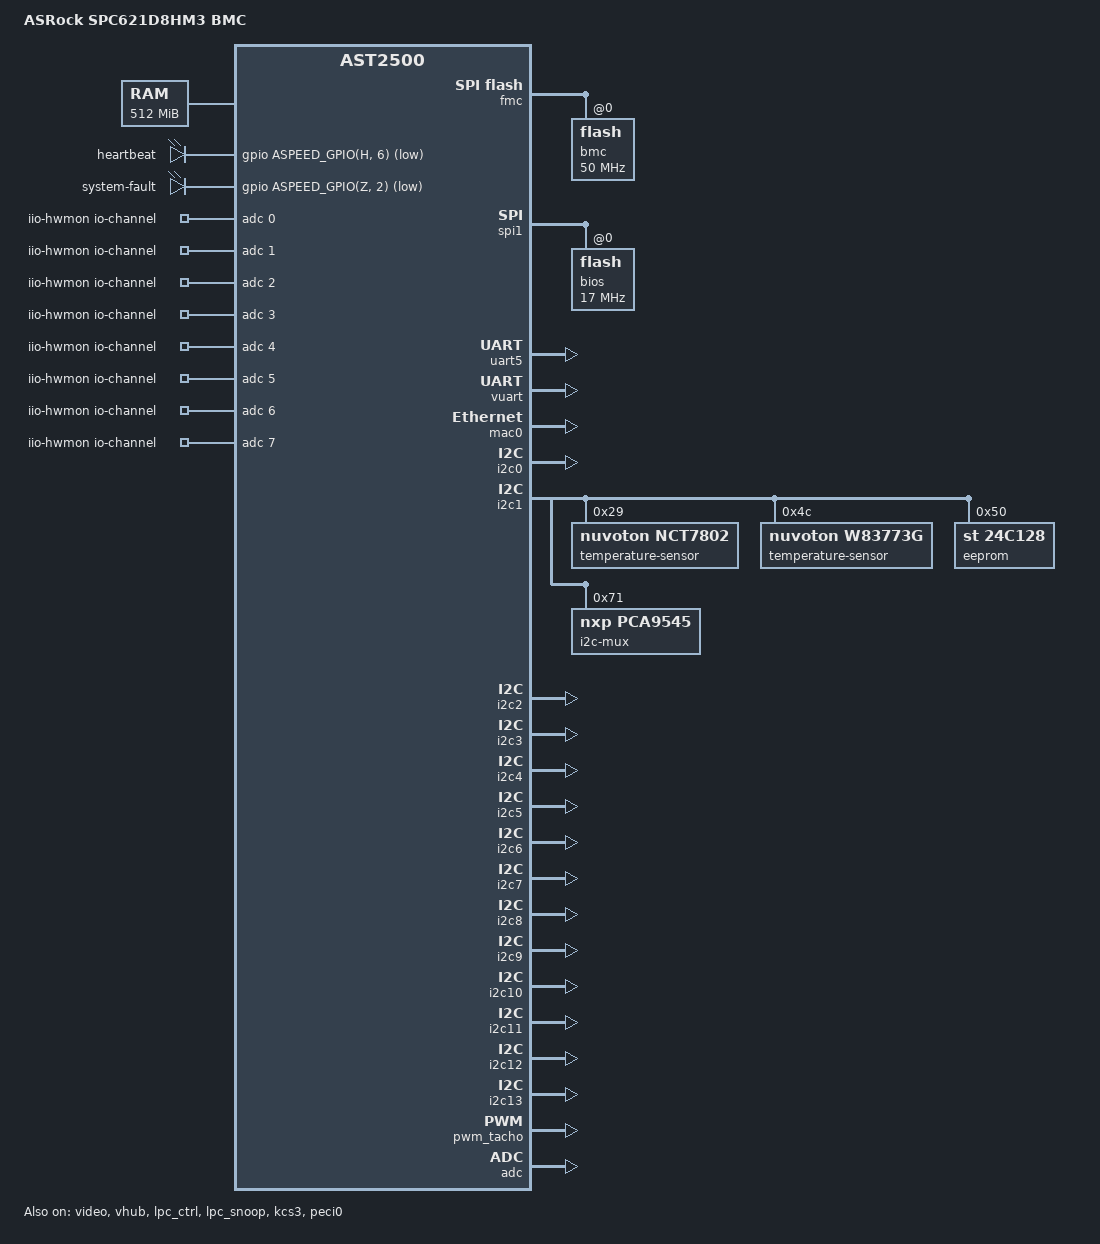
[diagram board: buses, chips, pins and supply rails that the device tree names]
// SPDX-License-Identifier: GPL-2.0+
/dts-v1/;

#include "aspeed-g5.dtsi"
#include <dt-bindings/gpio/aspeed-gpio.h>
#include <dt-bindings/i2c/i2c.h>
#include <dt-bindings/interrupt-controller/irq.h>

/{
	model = "ASRock SPC621D8HM3 BMC";
	compatible = "asrock,spc621d8hm3-bmc", "aspeed,ast2500";

	aliases {
		serial4 = &uart5;

		i2c20 = &i2c1mux0ch0;
		i2c21 = &i2c1mux0ch1;
	};

	chosen {
		stdout-path = &uart5;
		bootargs = "console=tty0 console=ttyS4,115200 earlycon";
	};

	memory@80000000 {
		reg = <0x80000000 0x20000000>;
	};

	leds {
		compatible = "gpio-leds";

		heartbeat {
			gpios = <&gpio ASPEED_GPIO(H, 6) GPIO_ACTIVE_LOW>;
			linux,default-trigger = "timer";
		};

		system-fault {
			gpios = <&gpio ASPEED_GPIO(Z, 2) GPIO_ACTIVE_LOW>;
			panic-indicator;
		};
	};

	iio-hwmon {
		compatible = "iio-hwmon";
		io-channels = <&adc 0>, <&adc 1>, <&adc 2>, <&adc 3>,
			<&adc 4>, <&adc 5>, <&adc 6>, <&adc 7>,
			<&adc 8>, <&adc 9>, <&adc 10>, <&adc 11>,
			<&adc 12>, <&adc 13>, <&adc 14>, <&adc 15>;
	};
};

&fmc {
	status = "okay";
	flash@0 {
		status = "okay";
		m25p,fast-read;
		label = "bmc";
		spi-max-frequency = <50000000>; /* 50 MHz */
#include "openbmc-flash-layout-64.dtsi"
	};
};

&spi1 {
	status = "okay";
	pinctrl-names = "default";
	pinctrl-0 = <&pinctrl_spi1_default>;
	flash@0 {
		status = "okay";
		label = "bios";
		m25p,fast-read;
		spi-max-frequency = <17000000>; /* 17 MHz */
	};
};

&uart5 {
	status = "okay";
};

&vuart {
	status = "okay";
	aspeed,lpc-io-reg = <0x2f8>;
	aspeed,lpc-interrupts = <3 IRQ_TYPE_LEVEL_HIGH>;
};

&mac0 {
	status = "okay";

	pinctrl-names = "default";
	pinctrl-0 = <&pinctrl_rgmii1_default &pinctrl_mdio1_default>;

	nvmem-cells = <&eth0_macaddress>;
	nvmem-cell-names = "mac-address";
};

&i2c0 {
	status = "okay";
};

&i2c1 {
	status = "okay";

	/* hardware monitor/thermal sensor */
	temperature-sensor@29 {
		compatible = "nuvoton,nct7802";
		reg = <0x29>;
	};

	/* motherboard temp sensor (TMP1, near BMC) */
	temperature-sensor@4c {
		compatible = "nuvoton,w83773g";
		reg = <0x4c>;
	};

	/* motherboard FRU eeprom */
	eeprom@50 {
		compatible = "st,24c128", "atmel,24c128";
		#address-cells = <1>;
		#size-cells = <1>;
		reg = <0x50>;
		pagesize = <16>;

		eth0_macaddress: macaddress@3f80 {
			reg = <0x3f80 6>;
		};
	};

	/* M.2 slot smbus mux */
	i2c-mux@71 {
		compatible = "nxp,pca9545";
		reg = <0x71>;
		#address-cells = <1>;
		#size-cells = <0>;

		i2c1mux0ch0: i2c@0 {
			#address-cells = <1>;
			#size-cells = <0>;
			reg = <0>;
		};

		i2c1mux0ch1: i2c@1 {
			#address-cells = <1>;
			#size-cells = <0>;
			reg = <1>;
		};
	};
};

&i2c2 {
	status = "okay";
};

&i2c3 {
	status = "okay";
};

&i2c4 {
	status = "okay";
};

&i2c5 {
	status = "okay";
};

&i2c6 {
	status = "okay";
};

&i2c7 {
	status = "okay";
};

&i2c8 {
	status = "okay";
};

&i2c9 {
	status = "okay";
};

&i2c10 {
	status = "okay";
};

&i2c11 {
	status = "okay";
};

&i2c12 {
	status = "okay";
};

&i2c13 {
	status = "okay";
};

&video {
	status = "okay";
};

&vhub {
	status = "okay";
};

&lpc_ctrl {
	status = "okay";
};

&lpc_snoop {
	status = "okay";
	snoop-ports = <0x80>;
};

&kcs3 {
	status = "okay";
	aspeed,lpc-io-reg = <0xca2>;
};

&peci0 {
	status = "okay";
};

&pwm_tacho {
	status = "okay";
	pinctrl-names = "default";
	pinctrl-0 = <&pinctrl_pwm0_default
		&pinctrl_pwm2_default
		&pinctrl_pwm3_default
		&pinctrl_pwm4_default>;

	fan@0 {
		reg = <0x00>;
		aspeed,fan-tach-ch = /bits/ 8 <0x00>;
	};

	fan@2 {
		reg = <0x02>;
		aspeed,fan-tach-ch = /bits/ 8 <0x02>;
	};

	fan@3 {
		reg = <0x03>;
		aspeed,fan-tach-ch = /bits/ 8 <0x03>;
	};

	fan@4 {
		reg = <0x04>;
		aspeed,fan-tach-ch = /bits/ 8 <0x04>;
	};
};

&gpio {
	status = "okay";
	gpio-line-names =
		/*  A */ "LOCATORLED_STATUS_N", "LOCATORBTN_N",
			"BMC_READY_N", "FM_SPD_DDRCPU_LVLSHFT_EN",
			"", "", "", "",
		/*  B */ "NODE_ID_1", "NODE_ID_2", "PSU_FAN_FAIL_N", "",
			"", "", "", "GPIO_RST",
		/*  C */ "", "", "", "", "", "", "", "",
		/*  D */ "FP_PWR_BTN_MUX_N", "FM_BMC_PWRBTN_OUT_N",
			"FP_RST_BTN_N", "RST_BMC_RSTBTN_OUT_N",
			"NMI_BTN_N", "BMC_NMI",
			"", "",
		/*  E */ "", "", "", "FM_ME_RCVR_N", "", "", "", "",
		/*  F */ "BMC_SMB_SEL_N", "FM_CPU2_DISABLE_COD_N",
			"FM_REMOTE_DEBUG_BMC_EN", "FM_CPU_ERR0_LVT3_EN",
			"FM_CPU_ERR1_LVT3_EN", "FM_CPU_ERR2_LVT3_EN",
			"FM_MEM_THERM_EVENT_CPU1_LVT3_N", "FM_MEM_THERM_EVENT_CPU2_LVT3_N",
		/*  G */ "HWM_BAT_EN", "", "BMC_PHYRST_N", "FM_BIOS_SPI_BMC_CTRL",
			"BMC_ALERT1_N", "BMC_ALERT2_N", "BMC_ALERT3_N", "IRQ_SML0_ALERT_N",
		/*  H */ "BMC_SMB_PRESENT_1_N", "FM_PCH_CORE_VID_0", "FM_PCH_CORE_VID_1", "",
			"FM_MFG_MODE", "BMC_RTCRST", "BMC_HB_LED_N", "BMC_CASEOPEN",
		/*  I */ "IRQ_PVDDQ_ABCD_CPU1_VRHOT_LVC3_N", "IRQ_PVDDQ_ABCD_CPU2_VRHOT_LVC3_N",
			"IRQ_PVDDQ_EFGH_CPU1_VRHOT_LVC3_N", "IRQ_PVDDQ_EFGH_CPU2_VRHOT_LVC3_N",
			"", "", "", "",
		/*  J */ "", "", "", "", "", "", "", "",
		/*  K */ "", "", "", "", "", "", "", "",
		/*  L */ "", "", "", "", "", "", "", "",
		/*  M */ "FM_PVCCIN_CPU1_PWR_IN_ALERT_N", "FM_PVCCIN_CPU2_PWR_IN_ALERT_N",
			"IRQ_PVCCIN_CPU1_VRHOT_LVC3_N", "IRQ_PVCCIN_CPU2_VRHOT_LVC3_N",
			"FM_CPU1_PROCHOT_BMC_LVC3_N", "",
			"FM_CPU1_MEMHOT_OUT_N", "FM_CPU2_MEMHOT_OUT_N",
		/*  N */ "", "", "", "", "", "", "", "",
		/*  O */ "", "", "", "", "", "", "", "",
		/*  P */ "", "", "", "", "", "", "", "",
		/*  Q */ "", "", "", "", "", "", "RST_GLB_RST_WARN_N", "PCIE_WAKE_N",
		/*  R */ "", "", "FM_BMC_SUSACK_N", "FM_BMC_EUP_LOT6_N",
			"", "FM_BMC_PCH_SCI_LPC_N", "", "",
		/*  S */ "FM_DBP_PRESENT_N", "FM_CPU2_SKTOCC_LCT3_N",
			"FM_CPU1_FIVR_FAULT_LVT3", "FM_CPU2_FIVR_FAULT_LVT3",
			 "", "", "", "",
		/*  T */ "", "", "", "", "", "", "", "",
		/*  U */ "", "", "", "", "", "", "", "",
		/*  V */ "", "", "", "", "", "", "", "",
		/*  W */ "", "", "", "", "", "", "", "",
		/*  X */ "", "", "", "", "", "", "", "",
		/*  Y */ "FM_SLPS3_N", "FM_SLPS4_N", "", "FM_BMC_ONCTL_N_PLD",
			"", "", "", "",
		/*  Z */ "FM_CPU_MSMI_CATERR_LVT3_N", "", "SYSTEM_FAULT_LED_N", "BMC_THROTTLE_N",
			"", "", "", "",
		/* AA */ "FM_CPU1_THERMTRIP_LATCH_LVT3_N", "FM_CPU2_THERMTRIP_LATCH_LVT3_N",
			"FM_BIOS_POST_COMPLT_N", "DBP_BMC_SYSPWROK",
			"", "IRQ_SML0_ALERT_MUX_N",
			"IRQ_SMI_ACTIVE_N", "IRQ_NMI_EVENT_N",
		/* AB */ "FM_PCH_BMC_THERMTRIP_N", "PWRGD_SYS_PWROK",
			"ME_OVERRIDE", "IRQ_BMC_PCH_SMI_LPC_N",
			"", "", "", "",
		/* AC */ "", "", "", "", "", "", "", "";
};

&adc {
	status = "okay";
	pinctrl-names = "default";
	pinctrl-0 = <&pinctrl_adc0_default /* 3VSB */
		&pinctrl_adc1_default	   /* 5VSB */
		&pinctrl_adc2_default	   /* CPU1 */
		&pinctrl_adc3_default	   /* NC */
		&pinctrl_adc4_default	   /* VCCMABCD */
		&pinctrl_adc5_default	   /* VCCMEFGH */
		&pinctrl_adc6_default	   /* NC */
		&pinctrl_adc7_default	   /* NC */
		&pinctrl_adc8_default	   /* PVNN_PCH */
		&pinctrl_adc9_default	   /* 1P05PCH */
		&pinctrl_adc10_default	   /* 1P8PCH */
		&pinctrl_adc11_default	   /* BAT */
		&pinctrl_adc12_default	   /* 3V */
		&pinctrl_adc13_default	   /* 5V */
		&pinctrl_adc14_default	   /* 12V */
		&pinctrl_adc15_default>;   /* GND */
};
